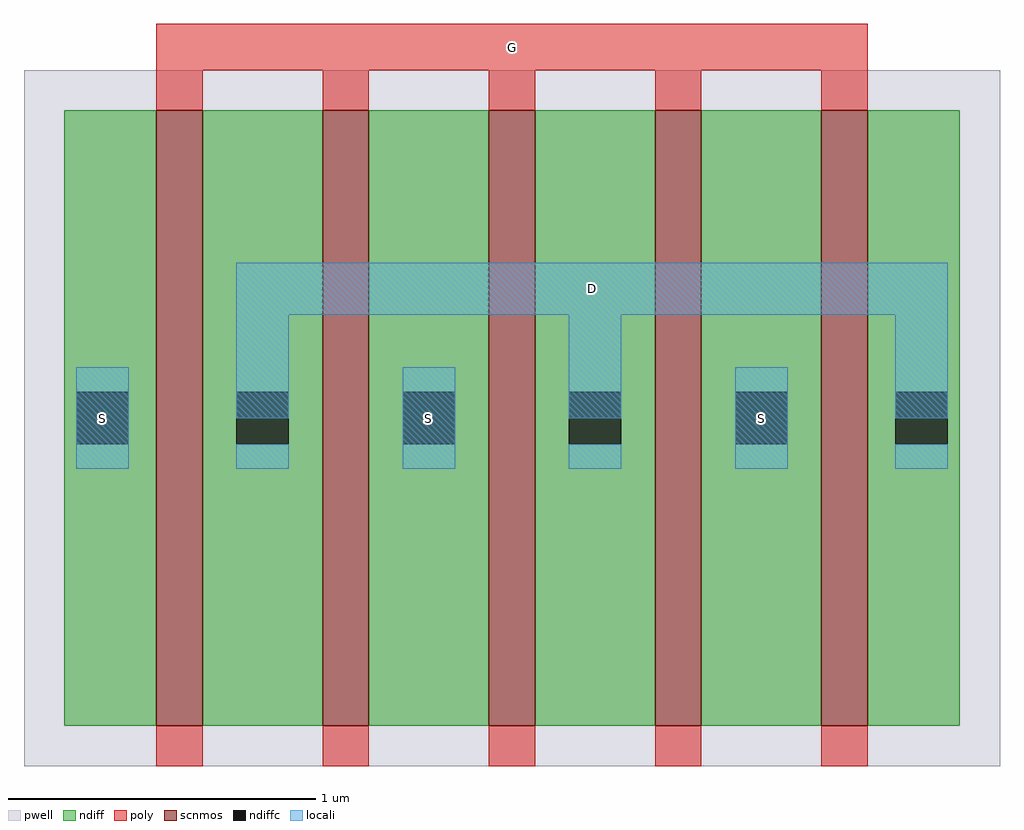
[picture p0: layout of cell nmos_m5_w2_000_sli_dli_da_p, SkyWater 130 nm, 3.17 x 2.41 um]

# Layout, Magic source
magic
tech sky130A
magscale 1 2
<< pwell >>
rect -26 -26 608 426
<< scnmos >>
rect 60 0 90 400
rect 168 0 198 400
rect 276 0 306 400
rect 384 0 414 400
rect 492 0 522 400
<< ndiff >>
rect 0 0 60 400
rect 90 0 168 400
rect 198 0 276 400
rect 306 0 384 400
rect 414 0 492 400
rect 522 0 582 400
<< poly >>
rect 60 426 522 456
rect 60 400 90 426
rect 168 400 198 426
rect 276 400 306 426
rect 384 400 414 426
rect 492 400 522 426
rect 60 -26 90 0
rect 168 -26 198 0
rect 276 -26 306 0
rect 384 -26 414 0
rect 492 -26 522 0
<< locali >>
rect 112 267 574 301
rect 8 167 42 233
rect 112 200 146 267
rect 220 167 254 233
rect 328 200 362 267
rect 436 167 470 233
rect 540 200 574 267
use contact_11  contact_11_5
transform 1 0 0 0 1 167
box -26 -22 76 88
use contact_11  contact_11_4
transform 1 0 104 0 1 167
box -26 -22 76 88
use contact_11  contact_11_3
transform 1 0 212 0 1 167
box -26 -22 76 88
use contact_11  contact_11_2
transform 1 0 320 0 1 167
box -26 -22 76 88
use contact_11  contact_11_1
transform 1 0 428 0 1 167
box -26 -22 76 88
use contact_11  contact_11_0
transform 1 0 532 0 1 167
box -26 -22 76 88
<< labels >>
rlabel poly s 291 441 291 441 4 G
rlabel locali s 25 200 25 200 4 S
rlabel locali s 453 200 453 200 4 S
rlabel locali s 237 200 237 200 4 S
rlabel locali s 343 284 343 284 4 D
<< properties >>
string FIXED_BBOX -25 -26 607 456
<< end >>

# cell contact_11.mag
magic
tech sky130A
<< pwell >>
rect -13 -11 38 44
<< ndiff >>
rect 0 25 25 31
rect 0 8 4 25
rect 21 8 25 25
rect 0 2 25 8
<< ndiffc >>
rect 4 8 21 25
<< locali >>
rect 4 25 21 33
rect 4 0 21 8
<< properties >>
string FIXED_BBOX -12 -10 37 43
<< end >>
